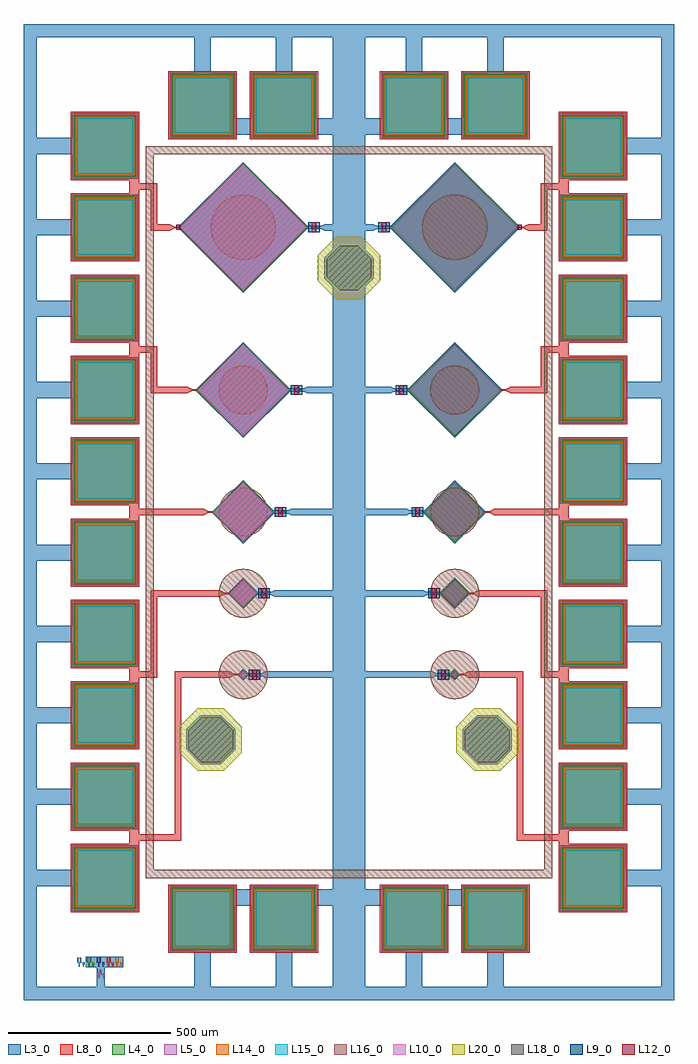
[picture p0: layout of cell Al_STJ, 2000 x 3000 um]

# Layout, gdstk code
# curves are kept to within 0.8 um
from math import pi, radians
import gdstk
lib = gdstk.Library(unit=1e-6, precision=1e-09)
def R(c, l, rs):  # rectangles x0, y0, x1, y1
    for r in rs: c.add(gdstk.rectangle(r[:2], r[2:], *l))
def A(c, l, x, y, w, h, nx, ny, dx, dy):  # array of equal rectangles
    R(c, l, [(x+i*dx, y+j*dy, x+i*dx+w, y+j*dy+h) for i in range(nx) for j in range(ny)])
def P(c, l, *ps):  # polygons
    for p in ps: c.add(gdstk.Polygon(p, *l))
L3_0 = (3, 0)
L4_0 = (4, 0)
L5_0 = (5, 0)
L8_0 = (8, 0)
L9_0 = (9, 0)
L10_0 = (10, 0)
L12_0 = (12, 0)
L14_0 = (14, 0)
L15_0 = (15, 0)
L16_0 = (16, 0)
L18_0 = (18, 0)
L20_0 = (20, 0)

pad200s = lib.new_cell('pad200s')
R(pad200s, L3_0, [(0,0,200,200)])
R(pad200s, L4_0, [(5,5,195,195)])
R(pad200s, L5_0, [(10,10,190,190)])
R(pad200s, L8_0, [(-5,-5,205,205)])
R(pad200s, L14_0, [(10,10,190,190)])
R(pad200s, L15_0, [(15,15,185,185)])

smallpost = lib.new_cell('smallpost')
P(smallpost, L3_0, [(31.5,76),(76,31.5),(76,-31.5),(31.5,-76),(-31.5,-76),(-76,-31.5),(-76,31.5),(-31.5,76)])
P(smallpost, L18_0, [(28.5,68.5),(68.5,28.5),(68.5,-28.5),(28.5,-68.5),(-28.5,-68.5),(-68.5,-28.5),(-68.5,28.5),(-28.5,68.5)])
P(smallpost, L20_0, [(39.799,96.083),(96.083,39.799),(96.083,-39.799),(39.799,-96.083),(-39.799,-96.083),(-96.083,-39.799),(-96.083,39.799),(-39.799,96.083)])

al_stj = lib.new_cell('Al_STJ')
A(al_stj, L3_0, 40, 350, 110, 50, 1, 10, 0, 250)
A(al_stj, L3_0, 1850, 350, 110, 50, 1, 10, 0, 250)
R(al_stj, L3_0, [(0,0,1960,40), (1960,0,2000,2960), (0,40,40,3000), (224,40,249,100), (525,40,575,150), (775,40,825,150), (950,40,1050,2960), (1175,40,1225,150), (1425,40,1475,150), (191,100,306,133), (169,102,173,118), (183,102,185,110), (181,108,183,116), (185,108,187,116), (165,114,169,130), (173,114,177,130), (650,290,700,340), (900,290,950,340), (1050,290,1100,340), (1300,290,1350,340), (742,990,950,1010), (1050,990,1258,1010), (687,995,732,1005), (734.5,995,742,1005), (1258,995,1265.5,1005), (1268,995,1313,1005), (771.5,1240,950,1260), (1050,1240,1228.5,1260), (716.5,1245,761.5,1255), (764,1245,771.5,1255), (1228.5,1245,1236,1255), (1238.5,1245,1283.5,1255), (822,1490,950,1510), (1050,1490,1178,1510), (767,1495,812,1505), (814.5,1495,822,1505), (1178,1495,1185.5,1505), (1188,1495,1233,1505), (871.5,1865,950,1885), (1050,1865,1128.5,1885), (816.5,1870,861.5,1880), (864,1870,871.5,1880), (1128.5,1870,1136,1880), (1138.5,1870,1183.5,1880), (925,2365,950,2385), (1050,2365,1075,2385), (870,2370,915,2380), (917.5,2370,925,2380), (1075,2370,1082.5,2380), (1085,2370,1130,2380), (650,2660,700,2710), (900,2660,950,2710), (1050,2660,1100,2710), (1300,2660,1350,2710), (525,2850,575,2960), (775,2850,825,2960), (1175,2850,1225,2960), (1425,2850,1475,2960), (40,2960,2000,3000)])
P(al_stj, L3_0, [(474,2375),(674.818,2575.818),(875.637,2375),(674.818,2174.182)],
  [(1526,2375),(1325.182,2575.818),(1124.363,2375),(1325.182,2174.182)],
  [(925,2385),(927.5,2380),(912.5,2372.5),(910,2377.5)],
  [(1075,2385),(1072.5,2380),(1087.5,2372.5),(1090,2377.5)],
  [(910,2372.5),(912.5,2377.5),(927.5,2370),(925,2365)],
  [(1090,2372.5),(1087.5,2377.5),(1072.5,2370),(1075,2365)],
  [(528,1875),(675.078,2022.078),(822.156,1875),(675.078,1727.922)],
  [(1472,1875),(1324.922,2022.078),(1177.844,1875),(1324.922,1727.922)],
  [(871.5,1885),(874,1880),(859,1872.5),(856.5,1877.5)],
  [(1128.5,1885),(1126,1880),(1141,1872.5),(1143.5,1877.5)],
  [(856.5,1872.5),(859,1877.5),(874,1870),(871.5,1865)],
  [(1143.5,1872.5),(1141,1877.5),(1126,1870),(1128.5,1865)],
  [(577.5,1500),(675.081,1597.581),(772.661,1500),(675.081,1402.419)],
  [(1422.5,1500),(1324.919,1597.581),(1227.339,1500),(1324.919,1402.419)],
  [(822,1510),(824.5,1505),(809.5,1497.5),(807,1502.5)],
  [(1178,1510),(1175.5,1505),(1190.5,1497.5),(1193,1502.5)],
  [(807,1497.5),(809.5,1502.5),(824.5,1495),(822,1490)],
  [(1193,1497.5),(1190.5,1502.5),(1175.5,1495),(1178,1490)],
  [(627.5,1250),(674.876,1297.376),(722.252,1250),(674.876,1202.624)],
  [(1372.5,1250),(1325.124,1297.376),(1277.748,1250),(1325.124,1202.624)],
  [(771.5,1260),(774,1255),(759,1247.5),(756.5,1252.5)],
  [(1228.5,1260),(1226,1255),(1241,1247.5),(1243.5,1252.5)],
  [(756.5,1247.5),(759,1252.5),(774,1245),(771.5,1240)],
  [(1243.5,1247.5),(1241,1252.5),(1226,1245),(1228.5,1240)],
  [(657.5,1000),(675.178,1017.678),(692.855,1000),(675.178,982.322)],
  [(1342.5,1000),(1324.822,1017.678),(1307.145,1000),(1324.822,982.322)],
  [(742,1010),(744.5,1005),(729.5,997.5),(727,1002.5)],
  [(1258,1010),(1255.5,1005),(1270.5,997.5),(1273,1002.5)],
  [(727,997.5),(729.5,1002.5),(744.5,995),(742,990)],
  [(1273,997.5),(1270.5,1002.5),(1255.5,995),(1258,990)])
P(al_stj, L4_0, [(476.828,2375),(674.818,2572.99),(872.808,2375),(674.818,2177.01)],
  [(1523.172,2375),(1325.182,2572.99),(1127.192,2375),(1325.182,2177.01)],
  [(530.828,1875),(675.078,2019.25),(819.328,1875),(675.078,1730.75)],
  [(1469.172,1875),(1324.922,2019.25),(1180.672,1875),(1324.922,1730.75)],
  [(580.328,1500),(675.08,1594.752),(769.833,1500),(675.08,1405.248)],
  [(1419.672,1500),(1324.92,1594.752),(1230.167,1500),(1324.92,1405.248)],
  [(630.328,1250),(674.876,1294.548),(719.423,1250),(674.876,1205.452)],
  [(1369.672,1250),(1325.124,1294.548),(1280.577,1250),(1325.124,1205.452)],
  [(660.328,1000),(675.177,1014.849),(690.026,1000),(675.177,985.151)],
  [(1339.672,1000),(1324.823,1014.849),(1309.974,1000),(1324.823,985.151)],
  [(195,130),(199,130),(199,118),(203,118),(203,130),(207,130),(207,114),(203,114),(203,102),(199,102),(199,114),(195,114)],
  [(211,116),(213,116),(213,110),(215,110),(215,116),(217,116),(217,108),(215,108),(215,102),(213,102),(213,108),(211,108)])
P(al_stj, L5_0, [(481.071,2375),(674.818,2568.747),(868.566,2375),(674.818,2181.253)],
  [(1518.929,2375),(1325.182,2568.747),(1131.434,2375),(1325.182,2181.253)],
  [(535.071,1875),(675.078,2015.007),(815.085,1875),(675.078,1734.993)],
  [(1464.929,1875),(1324.922,2015.007),(1184.915,1875),(1324.922,1734.993)],
  [(584.571,1500),(675.081,1590.51),(765.59,1500),(675.081,1409.49)],
  [(1415.429,1500),(1324.919,1590.51),(1234.41,1500),(1324.919,1409.49)],
  [(634.571,1250),(674.876,1290.305),(715.181,1250),(674.876,1209.695)],
  [(1365.429,1250),(1325.124,1290.305),(1284.819,1250),(1325.124,1209.695)],
  [(664.571,1000),(675.178,1010.607),(685.784,1000),(675.178,989.393)],
  [(1335.429,1000),(1324.822,1010.607),(1314.216,1000),(1324.822,989.393)],
  [(226,95),(230,95),(230,83),(234,83),(234,95),(238,95),(238,79),(234,79),(234,67),(230,67),(230,79),(226,79)],
  [(242,81),(244,81),(244,75),(246,75),(246,81),(248,81),(248,73),(246,73),(246,67),(244,67),(244,73),(242,73)])
A(al_stj, L8_0, 325, 480, 30, 40, 1, 5, 0, 500)
A(al_stj, L8_0, 1645, 480, 30, 40, 1, 5, 0, 500)
R(al_stj, L8_0, [(633,995,640.5,1005), (1359.5,995,1367,1005), (603,1245,610.5,1255), (1389.5,1245,1397,1255), (553,1495,560.5,1505), (1439.5,1495,1447,1505), (503.5,1870,511,1880), (1489,1870,1496.5,1880), (410,2365,449.5,2385), (1550.5,2365,1590,2385), (449.5,2370,457,2380), (1543,2370,1550.5,2380)])
P(al_stj, L8_0, [(447,2380),(449.5,2385),(464.5,2377.5),(486,2377.5),(486,2372.5),(464.5,2372.5),(449.5,2365),(447,2370),(457,2375)],
  [(1550.5,2385),(1553,2380),(1543,2375),(1553,2370),(1550.5,2365),(1535.5,2372.5),(1514,2372.5),(1514,2377.5),(1535.5,2377.5)],
  [(501,1880),(503.5,1885),(518.5,1877.5),(540,1877.5),(540,1872.5),(518.5,1872.5),(503.5,1865),(501,1870),(511,1875)],
  [(1496.5,1885),(1499,1880),(1489,1875),(1499,1870),(1496.5,1865),(1481.5,1872.5),(1460,1872.5),(1460,1877.5),(1481.5,1877.5)],
  [(550.5,1505),(553,1510),(568,1502.5),(590,1502.5),(590,1497.5),(568,1497.5),(553,1490),(550.5,1495),(560.5,1500)],
  [(1447,1510),(1449.5,1505),(1439.5,1500),(1449.5,1495),(1447,1490),(1432,1497.5),(1410,1497.5),(1410,1502.5),(1432,1502.5)],
  [(600.5,1255),(603,1260),(618,1252.5),(640,1252.5),(640,1247.5),(618,1247.5),(603,1240),(600.5,1245),(610.5,1250)],
  [(1397,1260),(1399.5,1255),(1389.5,1250),(1399.5,1245),(1397,1240),(1382,1247.5),(1360,1247.5),(1360,1252.5),(1382,1252.5)],
  [(630.5,1005),(633,1010),(648,1002.5),(670,1002.5),(670,997.5),(648,997.5),(633,990),(630.5,995),(640.5,1000)],
  [(1367,1010),(1369.5,1005),(1359.5,1000),(1369.5,995),(1367,990),(1352,997.5),(1330,997.5),(1330,1002.5),(1352,1002.5)],
  [(263,114),(263,102),(259,102),(259,114),(255,114),(255,130),(259,130),(259,118),(263,118),(263,130),(267,130),(267,114)],
  [(275,108),(275,102),(273,102),(273,108),(271,108),(271,116),(273,116),(273,110),(275,110),(275,116),(277,116),(277,108)])
R(al_stj, L9_0, [(229,102,233,118), (243,102,245,110), (241,108,243,116), (245,108,247,116), (225,114,229,130), (233,114,237,130), (692,985,727,1015), (1273,985,1308,1015), (721.5,1235,756.5,1265), (1243.5,1235,1278.5,1265), (772,1485,807,1515), (1193,1485,1228,1515), (821.5,1860,856.5,1890), (1143.5,1860,1178.5,1890), (875,2360,910,2390), (1090,2360,1125,2390)])
P(al_stj, L10_0, [(479.657,2375),(674.818,2570.161),(869.98,2375),(674.818,2179.839)],
  [(533.657,1875),(675.078,2016.421),(816.5,1875),(675.078,1733.579)],
  [(583.157,1500),(675.081,1591.924),(767.005,1500),(675.081,1408.076)],
  [(633.157,1250),(674.876,1291.719),(716.596,1250),(674.876,1208.281)],
  [(663.157,1000),(675.178,1012.021),(687.199,1000),(675.178,987.979)])
R(al_stj, L12_0, [(702,985,717,1015), (1283,985,1298,1015), (731,1235,746,1265), (1254,1235,1269,1265), (782,1485,797,1515), (1203,1485,1218,1515), (831.5,1860,846.5,1890), (1153.5,1860,1168.5,1890), (885,2360,900,2390), (1100,2360,1115,2390), (468.5,2367,482,2383), (1518,2367,1531.5,2383)])
P(al_stj, L14_0, [(285,114),(281,114),(281,130),(285,130),(285,118),(289,118),(289,130),(293,130),(293,114),(289,114),(289,102),(285,102)],
  [(299,108),(297,108),(297,116),(299,116),(299,110),(301,110),(301,116),(303,116),(303,108),(301,108),(301,102),(299,102)])
P(al_stj, L16_0, [(375,2625),(1625,2625),(1625,375),(375,375),(375,400),(1600,400),(1600,2600),(400,2600),(400,400),(375,400)],
  [(675,2475),(694.585,2473.063),(713.411,2467.329),(728.687,2459.367),(744.17,2447.219),(756.974,2432.274),(766.603,2415.11),(772.685,2396.393),(774.983,2376.848),(773.409,2357.231),(768.023,2338.302),(759.034,2320.795),(746.791,2305.387),(731.767,2292.675),(714.545,2283.151),(695.791,2277.185),(676.232,2275.008),(656.625,2276.703),(637.73,2282.205),(620.278,2291.301),(604.946,2303.639),(592.327,2318.741),(582.909,2336.021),(577.059,2354.812),(575.002,2374.384),(576.818,2393.98),(582.436,2412.841),(591.64,2430.236),(604.072,2445.493),(619.251,2458.018),(636.589,2467.329),(655.415,2473.063)],
  [(1325,2475),(1305.415,2473.063),(1286.589,2467.329),(1271.313,2459.367),(1255.83,2447.219),(1243.026,2432.274),(1233.397,2415.11),(1227.315,2396.393),(1225.017,2376.848),(1226.591,2357.231),(1231.977,2338.302),(1240.966,2320.795),(1253.209,2305.387),(1268.233,2292.675),(1285.455,2283.151),(1304.209,2277.185),(1323.768,2275.008),(1343.375,2276.703),(1362.27,2282.205),(1379.722,2291.301),(1395.054,2303.639),(1407.673,2318.741),(1417.091,2336.021),(1422.941,2354.812),(1424.998,2374.384),(1423.182,2393.98),(1417.564,2412.841),(1408.36,2430.236),(1395.928,2445.493),(1380.749,2458.018),(1363.411,2467.329),(1344.585,2473.063)],
  [(675,1950),(689.688,1948.548),(703.808,1944.247),(716.812,1937.264),(728.196,1927.869),(737.52,1916.427),(744.423,1903.381),(748.637,1889.235),(749.999,1874.538),(748.456,1859.859),(744.068,1845.766),(737.005,1832.806),(727.541,1821.479),(717.576,1813.256),(704.659,1806.113),(690.593,1801.639),(675.924,1800.006),(661.219,1801.277),(647.047,1805.404),(633.959,1812.226),(622.459,1821.479),(612.995,1832.806),(605.932,1845.766),(601.544,1859.859),(600.001,1874.538),(601.363,1889.235),(605.577,1903.381),(612.48,1916.427),(621.804,1927.869),(633.188,1937.264),(646.192,1944.247),(660.312,1948.548)],
  [(1325,1950),(1310.312,1948.548),(1296.192,1944.247),(1283.188,1937.264),(1271.804,1927.869),(1262.48,1916.427),(1255.577,1903.381),(1251.363,1889.235),(1250.001,1874.538),(1251.544,1859.859),(1255.932,1845.766),(1262.995,1832.806),(1272.459,1821.479),(1282.424,1813.256),(1295.341,1806.113),(1309.407,1801.639),(1324.076,1800.006),(1338.781,1801.277),(1352.953,1805.404),(1366.041,1812.226),(1377.541,1821.479),(1387.005,1832.806),(1394.068,1845.766),(1398.456,1859.859),(1399.999,1874.538),(1398.637,1889.235),(1394.423,1903.381),(1387.52,1916.427),(1378.196,1927.869),(1366.812,1937.264),(1353.808,1944.247),(1339.688,1948.548)],
  [(675,1575),(689.688,1573.548),(703.808,1569.247),(716.812,1562.264),(728.196,1552.869),(737.52,1541.427),(744.423,1528.381),(748.637,1514.235),(749.999,1499.538),(748.456,1484.859),(744.068,1470.766),(737.005,1457.806),(727.541,1446.479),(717.576,1438.256),(704.659,1431.113),(690.593,1426.639),(675.924,1425.006),(661.219,1426.277),(647.047,1430.404),(633.959,1437.226),(622.459,1446.479),(612.995,1457.806),(605.932,1470.766),(601.544,1484.859),(600.001,1499.538),(601.363,1514.235),(605.577,1528.381),(612.48,1541.427),(621.804,1552.869),(633.188,1562.264),(646.192,1569.247),(660.312,1573.548)],
  [(1325,1575),(1310.312,1573.548),(1296.192,1569.247),(1283.188,1562.264),(1271.804,1552.869),(1262.48,1541.427),(1255.577,1528.381),(1251.363,1514.235),(1250.001,1499.538),(1251.544,1484.859),(1255.932,1470.766),(1262.995,1457.806),(1272.459,1446.479),(1282.424,1438.256),(1295.341,1431.113),(1309.407,1426.639),(1324.076,1425.006),(1338.781,1426.277),(1352.953,1430.404),(1366.041,1437.226),(1377.541,1446.479),(1387.005,1457.806),(1394.068,1470.766),(1398.456,1484.859),(1399.999,1499.538),(1398.637,1514.235),(1394.423,1528.381),(1387.52,1541.427),(1378.196,1552.869),(1366.812,1562.264),(1353.808,1569.247),(1339.688,1573.548)],
  [(675,1325),(689.688,1323.548),(703.808,1319.247),(716.812,1312.264),(728.196,1302.869),(737.52,1291.427),(744.423,1278.381),(748.637,1264.235),(749.999,1249.538),(748.456,1234.859),(744.068,1220.766),(737.005,1207.806),(727.541,1196.479),(717.576,1188.256),(704.659,1181.113),(690.593,1176.639),(675.924,1175.006),(661.219,1176.277),(647.047,1180.404),(633.959,1187.226),(622.459,1196.479),(612.995,1207.806),(605.932,1220.766),(601.544,1234.859),(600.001,1249.538),(601.363,1264.235),(605.577,1278.381),(612.48,1291.427),(621.804,1302.869),(633.188,1312.264),(646.192,1319.247),(660.312,1323.548)],
  [(1325,1325),(1310.312,1323.548),(1296.192,1319.247),(1283.188,1312.264),(1271.804,1302.869),(1262.48,1291.427),(1255.577,1278.381),(1251.363,1264.235),(1250.001,1249.538),(1251.544,1234.859),(1255.932,1220.766),(1262.995,1207.806),(1272.459,1196.479),(1282.424,1188.256),(1295.341,1181.113),(1309.407,1176.639),(1324.076,1175.006),(1338.781,1176.277),(1352.953,1180.404),(1366.041,1187.226),(1377.541,1196.479),(1387.005,1207.806),(1394.068,1220.766),(1398.456,1234.859),(1399.999,1249.538),(1398.637,1264.235),(1394.423,1278.381),(1387.52,1291.427),(1378.196,1302.869),(1366.812,1312.264),(1353.808,1319.247),(1339.688,1323.548)],
  [(675,1075),(689.688,1073.548),(703.808,1069.247),(716.812,1062.264),(728.196,1052.869),(737.52,1041.427),(744.423,1028.381),(748.637,1014.235),(749.999,999.538),(748.456,984.859),(744.068,970.766),(737.005,957.806),(727.541,946.479),(717.576,938.256),(704.659,931.113),(690.593,926.639),(675.924,925.006),(661.219,926.277),(647.047,930.404),(633.959,937.226),(622.459,946.479),(612.995,957.806),(605.932,970.766),(601.544,984.859),(600.001,999.538),(601.363,1014.235),(605.577,1028.381),(612.48,1041.427),(621.804,1052.869),(633.188,1062.264),(646.192,1069.247),(660.312,1073.548)],
  [(1325,1075),(1310.312,1073.548),(1296.192,1069.247),(1283.188,1062.264),(1271.804,1052.869),(1262.48,1041.427),(1255.577,1028.381),(1251.363,1014.235),(1250.001,999.538),(1251.544,984.859),(1255.932,970.766),(1262.995,957.806),(1272.459,946.479),(1282.424,938.256),(1295.341,931.113),(1309.407,926.639),(1324.076,925.006),(1338.781,926.277),(1352.953,930.404),(1366.041,937.226),(1377.541,946.479),(1387.005,957.806),(1394.068,970.766),(1398.456,984.859),(1399.999,999.538),(1398.637,1014.235),(1394.423,1028.381),(1387.52,1041.427),(1378.196,1052.869),(1366.812,1062.264),(1353.808,1069.247),(1339.688,1073.548)])
al_stj.add(gdstk.FlexPath([(400,2375),(400,2500),(340,2500)], 20, ends="extended", simple_path=True, layer=8, datatype=0))  # L8_0
al_stj.add(gdstk.FlexPath([(1600,2375),(1600,2500),(1660,2500)], 20, ends="extended", simple_path=True, layer=8, datatype=0))  # L8_0
al_stj.add(gdstk.FlexPath([(493.5,1875),(400,1875),(400,2000),(340,2000)], 20, ends="extended", simple_path=True, layer=8, datatype=0))  # L8_0
al_stj.add(gdstk.FlexPath([(1506.5,1875),(1600,1875),(1600,2000),(1660,2000)], 20, ends="extended", simple_path=True, layer=8, datatype=0))  # L8_0
al_stj.add(gdstk.FlexPath([(543,1500),(340,1500)], 20, ends="extended", simple_path=True, layer=8, datatype=0))  # L8_0
al_stj.add(gdstk.FlexPath([(1457,1500),(1660,1500)], 20, ends="extended", simple_path=True, layer=8, datatype=0))  # L8_0
al_stj.add(gdstk.FlexPath([(593,1250),(400,1250),(400,1000),(340,1000)], 20, ends="extended", simple_path=True, layer=8, datatype=0))  # L8_0
al_stj.add(gdstk.FlexPath([(1407,1250),(1600,1250),(1600,1000),(1660,1000)], 20, ends="extended", simple_path=True, layer=8, datatype=0))  # L8_0
al_stj.add(gdstk.FlexPath([(623,1000),(475,1000),(475,500),(340,500)], 20, ends="extended", simple_path=True, layer=8, datatype=0))  # L8_0
al_stj.add(gdstk.FlexPath([(1377,1000),(1525,1000),(1525,500),(1660,500)], 20, ends="extended", simple_path=True, layer=8, datatype=0))  # L8_0
al_stj.add(gdstk.Reference(pad200s, (650,2850), rotation=pi))
al_stj.add(gdstk.Reference(pad200s, (900,2850), rotation=pi))
al_stj.add(gdstk.Reference(pad200s, (1300,2850), rotation=pi))
al_stj.add(gdstk.Reference(pad200s, (1550,2850), rotation=pi))
al_stj.add(gdstk.Reference(pad200s, (150,2725), rotation=3*pi/2))
al_stj.add(gdstk.Reference(pad200s, (1850,2525), rotation=pi/2))
al_stj.add(gdstk.Reference(pad200s, (150,2475), rotation=3*pi/2))
al_stj.add(gdstk.Reference(pad200s, (1850,2275), rotation=pi/2))
al_stj.add(gdstk.Reference(pad200s, (150,2225), rotation=3*pi/2))
al_stj.add(gdstk.Reference(pad200s, (1850,2025), rotation=pi/2))
al_stj.add(gdstk.Reference(pad200s, (150,1975), rotation=3*pi/2))
al_stj.add(gdstk.Reference(pad200s, (1850,1775), rotation=pi/2))
al_stj.add(gdstk.Reference(pad200s, (150,1725), rotation=3*pi/2))
al_stj.add(gdstk.Reference(pad200s, (1850,1525), rotation=pi/2))
al_stj.add(gdstk.Reference(pad200s, (150,1475), rotation=3*pi/2))
al_stj.add(gdstk.Reference(pad200s, (1850,1275), rotation=pi/2))
al_stj.add(gdstk.Reference(pad200s, (150,1225), rotation=3*pi/2))
al_stj.add(gdstk.Reference(pad200s, (1850,1025), rotation=pi/2))
al_stj.add(gdstk.Reference(pad200s, (150,975), rotation=3*pi/2))
al_stj.add(gdstk.Reference(pad200s, (1850,775), rotation=pi/2))
al_stj.add(gdstk.Reference(pad200s, (150,725), rotation=3*pi/2))
al_stj.add(gdstk.Reference(pad200s, (1850,525), rotation=pi/2))
al_stj.add(gdstk.Reference(pad200s, (150,475), rotation=3*pi/2))
al_stj.add(gdstk.Reference(pad200s, (1850,275), rotation=pi/2))
al_stj.add(gdstk.Reference(pad200s, (450,150)))
al_stj.add(gdstk.Reference(pad200s, (700,150)))
al_stj.add(gdstk.Reference(pad200s, (1100,150)))
al_stj.add(gdstk.Reference(pad200s, (1350,150)))
al_stj.add(gdstk.Reference(smallpost, (1000,2250)))
al_stj.add(gdstk.Reference(smallpost, (575,800)))
al_stj.add(gdstk.Reference(smallpost, (1425,800)))

lib.write_gds('Al_STJ.gds')
